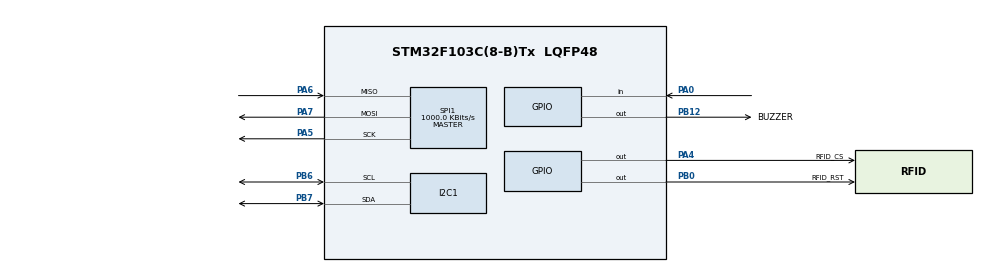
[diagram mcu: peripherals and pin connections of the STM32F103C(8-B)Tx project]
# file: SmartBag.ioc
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Mcu.Family=STM32F1
Mcu.Name=STM32F103C(8-B)Tx
Mcu.Package=LQFP48
NVIC.PriorityGroup=NVIC_PRIORITYGROUP_4
PA0-WKUP.GPIO_PuPd=GPIO_PULLUP
PA0-WKUP.Signal=GPIO_Input
PA13.Mode=Serial_Wire
PA13.Signal=SYS_JTMS-SWDIO
PA14.Mode=Serial_Wire
PA14.Signal=SYS_JTCK-SWCLK
PA4.GPIO_Label=RFID_CS
PA4.PinState=GPIO_PIN_SET
PA4.Signal=GPIO_Output
PA5.Mode=Full_Duplex_Master
PA5.Signal=SPI1_SCK
PA6.Mode=Full_Duplex_Master
PA6.Signal=SPI1_MISO
PA7.Mode=Full_Duplex_Master
PA7.Signal=SPI1_MOSI
PB0.GPIO_Label=RFID_RST
PB0.PinState=GPIO_PIN_SET
PB0.Signal=GPIO_Output
PB12.GPIO_Label=BUZZER
PB12.Signal=GPIO_Output
PB6.Mode=I2C
PB6.Signal=I2C1_SCL
PB7.Mode=I2C
PB7.Signal=I2C1_SDA
PD0-OSC_IN.Mode=HSE-External-Oscillator
PD0-OSC_IN.Signal=RCC_OSC_IN
PD1-OSC_OUT.Mode=HSE-External-Oscillator
PD1-OSC_OUT.Signal=RCC_OSC_OUT
ProjectManager.HeapSize=0x200
ProjectManager.StackSize=0x400
ProjectManager.TargetToolchain=STM32CubeIDE
RCC.APB1Freq_Value=8000000
RCC.APB2Freq_Value=8000000
RCC.PLLMUL=RCC_PLL_MUL9
RCC.PLLSourceVirtual=RCC_PLLSOURCE_HSE
RCC.USBFreq_Value=72000000
SPI1.BaudRatePrescaler=SPI_BAUDRATEPRESCALER_8
SPI1.CalculateBaudRate=1000.0 KBits/s
SPI1.Direction=SPI_DIRECTION_2LINES
SPI1.Mode=SPI_MODE_MASTER
SPI1.VirtualType=VM_MASTER
board=custom

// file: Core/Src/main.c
/* USER CODE BEGIN Header */
/**
  ******************************************************************************
  * @file           : main.c
  * @brief          : Main program body
  ******************************************************************************
  * @attention
  *
  * Copyright (c) 2026 STMicroelectronics.
  * All rights reserved.
  *
  * This software is licensed under terms that can be found in the LICENSE file
  * in the root directory of this software component.
  * If no LICENSE file comes with this software, it is provided AS-IS.
  *
  ******************************************************************************
  */
/* USER CODE END Header */
#include "main.h"

/* USER CODE BEGIN Includes */
#include "mfrc522.h"
#include "ssd1306.h"
#include <stdio.h>
#include <string.h>

/* USER CODE END Includes */

I2C_HandleTypeDef hi2c1;

SPI_HandleTypeDef hspi1;

void SystemClock_Config(void);
static void MX_GPIO_Init(void);
static void MX_I2C1_Init(void);
static void MX_SPI1_Init(void);

/* USER CODE BEGIN 0 */
/* Smart Bag subject definitions */

#define SUBJECT_COUNT 5

typedef struct
{
    char name[20];
    uint8_t uid[4];
    uint8_t present;
} Subject;

/*
 * TEMPORARY RFID UIDs
 *
 * These are PLACEHOLDERS.
 *
 * After we read the real UID from each RFID tag,
 * replace these four numbers for each subject.
 */
Subject subjects[SUBJECT_COUNT] =
{
    {
        "Mathematics",
        {0xB3, 0x38, 0x49, 0x56},
        0
    },

    {
        "Physics",
        {0x11, 0x12, 0x13, 0x14},
        0
    },

    {
        "Chemistry",
        {0x21, 0x22, 0x23, 0x24},
        0
    },

    {
        "Computer Science",
        {0x31, 0x32, 0x33, 0x34},
        0
    },

    {
        "English",
        {0x41, 0x42, 0x43, 0x44},
        0
    }
};
/* Compare two 4-byte RFID UIDs */
static uint8_t UID_Matches(uint8_t *uid1, uint8_t *uid2)
{
    for (uint8_t i = 0; i < 4; i++)
    {
        if (uid1[i] != uid2[i])
        {
            return 0;
        }
    }

    return 1;
}
/* Find which subject belongs to an RFID UID */
static int8_t FindSubject(uint8_t *uid)
{
    for (uint8_t i = 0; i < SUBJECT_COUNT; i++)
    {
        if (UID_Matches(uid, subjects[i].uid))
        {
            return i;
        }
    }

    return -1;
}

/* Display all currently detected subjects */
static void DisplaySubjectStatus(void)
{
    SSD1306_Clear();

    SSD1306_SetCursor(0, 0);
    SSD1306_WriteString("SMART BAG");

    for (uint8_t i = 0; i < SUBJECT_COUNT; i++)
    {
        SSD1306_SetCursor(0, i + 1);

        if (subjects[i].present)
        {
            SSD1306_WriteString("OK ");
        }
        else
        {
            SSD1306_WriteString("-- ");
        }

        SSD1306_WriteString(subjects[i].name);
    }

    SSD1306_UpdateScreen();
}

/* Check whether all subjects have been scanned */
static uint8_t AllSubjectsPresent(void)
{
    for (uint8_t i = 0; i < SUBJECT_COUNT; i++)
    {
        if (!subjects[i].present)
        {
            return 0;
        }
    }

    return 1;
}

/* Short buzzer beep */
static void Buzzer_Beep(void)
{
    HAL_GPIO_WritePin(GPIOB, GPIO_PIN_12, GPIO_PIN_SET);

    HAL_Delay(200);

    HAL_GPIO_WritePin(GPIOB, GPIO_PIN_12, GPIO_PIN_RESET);
}
/* Display that all subjects are present */
static void DisplayBagComplete(void)
{
    SSD1306_Clear();

    SSD1306_SetCursor(0, 1);
    SSD1306_WriteString("SMART BAG");

    SSD1306_SetCursor(0, 3);
    SSD1306_WriteString("BAG COMPLETE");

    SSD1306_SetCursor(0, 5);
    SSD1306_WriteString("All subjects OK");

    SSD1306_UpdateScreen();
}
/* Display an unknown RFID warning */
static void DisplayUnknownTag(void)
{
    SSD1306_Clear();

    SSD1306_SetCursor(0, 1);
    SSD1306_WriteString("SMART BAG");

    SSD1306_SetCursor(0, 3);
    SSD1306_WriteString("UNKNOWN TAG");

    SSD1306_SetCursor(0, 5);
    SSD1306_WriteString("Not registered");

    SSD1306_UpdateScreen();

    Buzzer_Beep();
}
/* Display the RFID UID on the OLED */
static void DisplayUID(uint8_t *uid)
{
    char uidText[20];

    SSD1306_Clear();

    SSD1306_SetCursor(0, 0);
    SSD1306_WriteString("RFID TAG");

    SSD1306_SetCursor(0, 2);
    SSD1306_WriteString("UID:");

    sprintf(uidText, "%02X %02X %02X %02X",
            uid[0], uid[1], uid[2], uid[3]);

    SSD1306_SetCursor(0, 4);
    SSD1306_WriteString(uidText);

    SSD1306_UpdateScreen();
}
    /* Check for missing books */
    static void CheckMissingBooks(void)
    {
        uint8_t missingFound = 0;

        for (uint8_t i = 0; i < SUBJECT_COUNT; i++)
        {
            if (subjects[i].present == 0)
            {
                missingFound = 1;

                SSD1306_Clear();

                SSD1306_SetCursor(0, 0);
                SSD1306_WriteString("MISSING BOOK");

                SSD1306_SetCursor(0, 2);
                SSD1306_WriteString(subjects[i].name);

                SSD1306_UpdateScreen();

                /* Buzzer alert */
                Buzzer_Beep();

                HAL_Delay(500);
            }
        }

        if (!missingFound)
        {
            DisplayBagComplete();
        }
    }
/* USER CODE END 0 */

int main(void)
{

  /* MCU Configuration--------------------------------------------------------*/

  /* Reset of all peripherals, Initializes the Flash interface and the Systick. */
  HAL_Init();

  /* Configure the system clock */
  SystemClock_Config();

  /* Initialize all configured peripherals */
  MX_GPIO_Init();
  MX_I2C1_Init();
  MX_SPI1_Init();
  /* USER CODE BEGIN 2 */
  MFRC522_Init();

    uint8_t version = MFRC522_GetVersion();

    SSD1306_Init();

    SSD1306_Clear();
    SSD1306_SetCursor(0, 0);
    SSD1306_WriteString("RFID TEST");

    SSD1306_SetCursor(0, 2);

    if (version == 0x91 || version == 0x92)
    {
        SSD1306_WriteString("RFID OK");
    }
    else
    {
        SSD1306_WriteString("RFID ERROR");
    }

    SSD1306_UpdateScreen();
    HAL_Delay(10000);

  SSD1306_SetCursor(0, 0);
  SSD1306_WriteString("SMART BAG");

  SSD1306_SetCursor(0, 2);
  SSD1306_WriteString("Initializing...");

  SSD1306_UpdateScreen();

  HAL_Delay(2000);

  DisplaySubjectStatus();
  /* USER CODE END 2 */

  /* Infinite loop */
  /* USER CODE BEGIN WHILE */
  while (1)
  {
      uint8_t uid[4];

      /* Time of the most recent RFID card scan */
      static uint32_t lastCardTime = 0;

      /* Becomes 1 after at least one card has been scanned */
      static uint8_t scanningBag = 0;

      /* RFID card scanning */
      if (MFRC522_CheckCard(uid) == MFRC522_OK)
      {
          int8_t subjectIndex = FindSubject(uid);

          if (subjectIndex >= 0)
          {
              SSD1306_Clear();

              SSD1306_SetCursor(0, 0);
              SSD1306_WriteString("REGISTERED");

              SSD1306_SetCursor(0, 2);
              SSD1306_WriteString(subjects[subjectIndex].name);

              subjects[subjectIndex].present = 1;

              SSD1306_UpdateScreen();

              HAL_Delay(1000);

              DisplaySubjectStatus();

              /* Start/restart the bag checking timer */
              lastCardTime = HAL_GetTick();
              scanningBag = 1;
          }
          else
          {
              DisplayUnknownTag();

              HAL_Delay(1000);

              DisplaySubjectStatus();
          }
      }

      /*
       * After 5 seconds without scanning another card,
       * automatically check for missing books.
       */
      if (scanningBag)
      {
          if ((HAL_GetTick() - lastCardTime) >= 5000)
          {
              scanningBag = 0;

              CheckMissingBooks();

              HAL_Delay(2000);

              DisplaySubjectStatus();
          }
      }

      HAL_Delay(100);
  }
    /* USER CODE END WHILE */

}

void SystemClock_Config(void)
{
  RCC_OscInitTypeDef RCC_OscInitStruct = {0};
  RCC_ClkInitTypeDef RCC_ClkInitStruct = {0};

  /** Initializes the RCC Oscillators according to the specified parameters
  * in the RCC_OscInitTypeDef structure.
  */
  RCC_OscInitStruct.OscillatorType = RCC_OSCILLATORTYPE_HSI;
  RCC_OscInitStruct.HSIState = RCC_HSI_ON;
  RCC_OscInitStruct.HSICalibrationValue = RCC_HSICALIBRATION_DEFAULT;
  RCC_OscInitStruct.PLL.PLLState = RCC_PLL_NONE;
  if (HAL_RCC_OscConfig(&RCC_OscInitStruct) != HAL_OK)
  {
    Error_Handler();
  }

  /** Initializes the CPU, AHB and APB buses clocks
  */
  RCC_ClkInitStruct.ClockType = RCC_CLOCKTYPE_HCLK|RCC_CLOCKTYPE_SYSCLK
                              |RCC_CLOCKTYPE_PCLK1|RCC_CLOCKTYPE_PCLK2;
  RCC_ClkInitStruct.SYSCLKSource = RCC_SYSCLKSOURCE_HSI;
  RCC_ClkInitStruct.AHBCLKDivider = RCC_SYSCLK_DIV1;
  RCC_ClkInitStruct.APB1CLKDivider = RCC_HCLK_DIV1;
  RCC_ClkInitStruct.APB2CLKDivider = RCC_HCLK_DIV1;

  if (HAL_RCC_ClockConfig(&RCC_ClkInitStruct, FLASH_LATENCY_0) != HAL_OK)
  {
    Error_Handler();
  }
}

static void MX_I2C1_Init(void)
{

  hi2c1.Instance = I2C1;
  hi2c1.Init.ClockSpeed = 100000;
  hi2c1.Init.DutyCycle = I2C_DUTYCYCLE_2;
  hi2c1.Init.OwnAddress1 = 0;
  hi2c1.Init.AddressingMode = I2C_ADDRESSINGMODE_7BIT;
  hi2c1.Init.DualAddressMode = I2C_DUALADDRESS_DISABLE;
  hi2c1.Init.OwnAddress2 = 0;
  hi2c1.Init.GeneralCallMode = I2C_GENERALCALL_DISABLE;
  hi2c1.Init.NoStretchMode = I2C_NOSTRETCH_DISABLE;
  if (HAL_I2C_Init(&hi2c1) != HAL_OK)
  {
    Error_Handler();
  }

}

static void MX_SPI1_Init(void)
{

  /* SPI1 parameter configuration*/
  hspi1.Instance = SPI1;
  hspi1.Init.Mode = SPI_MODE_MASTER;
  hspi1.Init.Direction = SPI_DIRECTION_2LINES;
  hspi1.Init.DataSize = SPI_DATASIZE_8BIT;
  hspi1.Init.CLKPolarity = SPI_POLARITY_LOW;
  hspi1.Init.CLKPhase = SPI_PHASE_1EDGE;
  hspi1.Init.NSS = SPI_NSS_SOFT;
  hspi1.Init.BaudRatePrescaler = SPI_BAUDRATEPRESCALER_8;
  hspi1.Init.FirstBit = SPI_FIRSTBIT_MSB;
  hspi1.Init.TIMode = SPI_TIMODE_DISABLE;
  hspi1.Init.CRCCalculation = SPI_CRCCALCULATION_DISABLE;
  hspi1.Init.CRCPolynomial = 10;
  if (HAL_SPI_Init(&hspi1) != HAL_OK)
  {
    Error_Handler();
  }

}

static void MX_GPIO_Init(void)
{
  GPIO_InitTypeDef GPIO_InitStruct = {0};

  /* GPIO Ports Clock Enable */
  __HAL_RCC_GPIOD_CLK_ENABLE();
  __HAL_RCC_GPIOA_CLK_ENABLE();
  __HAL_RCC_GPIOB_CLK_ENABLE();

  /*Configure GPIO pin Output Level */
  HAL_GPIO_WritePin(RFID_CS_GPIO_Port, RFID_CS_Pin, GPIO_PIN_SET);

  /*Configure GPIO pin Output Level */
  HAL_GPIO_WritePin(RFID_RST_GPIO_Port, RFID_RST_Pin, GPIO_PIN_SET);

  /*Configure GPIO pin Output Level */
  HAL_GPIO_WritePin(BUZZER_GPIO_Port, BUZZER_Pin, GPIO_PIN_RESET);

  /*Configure GPIO pin : PA0 */
  GPIO_InitStruct.Pin = GPIO_PIN_0;
  GPIO_InitStruct.Mode = GPIO_MODE_INPUT;
  GPIO_InitStruct.Pull = GPIO_PULLUP;
  HAL_GPIO_Init(GPIOA, &GPIO_InitStruct);

  /*Configure GPIO pin : RFID_CS_Pin */
  GPIO_InitStruct.Pin = RFID_CS_Pin;
  GPIO_InitStruct.Mode = GPIO_MODE_OUTPUT_PP;
  GPIO_InitStruct.Pull = GPIO_NOPULL;
  GPIO_InitStruct.Speed = GPIO_SPEED_FREQ_LOW;
  HAL_GPIO_Init(RFID_CS_GPIO_Port, &GPIO_InitStruct);

  /*Configure GPIO pins : RFID_RST_Pin BUZZER_Pin */
  GPIO_InitStruct.Pin = RFID_RST_Pin|BUZZER_Pin;
  GPIO_InitStruct.Mode = GPIO_MODE_OUTPUT_PP;
  GPIO_InitStruct.Pull = GPIO_NOPULL;
  GPIO_InitStruct.Speed = GPIO_SPEED_FREQ_LOW;
  HAL_GPIO_Init(GPIOB, &GPIO_InitStruct);

}

void Error_Handler(void)
{
  __disable_irq();
  while (1)
  {
  }
}
